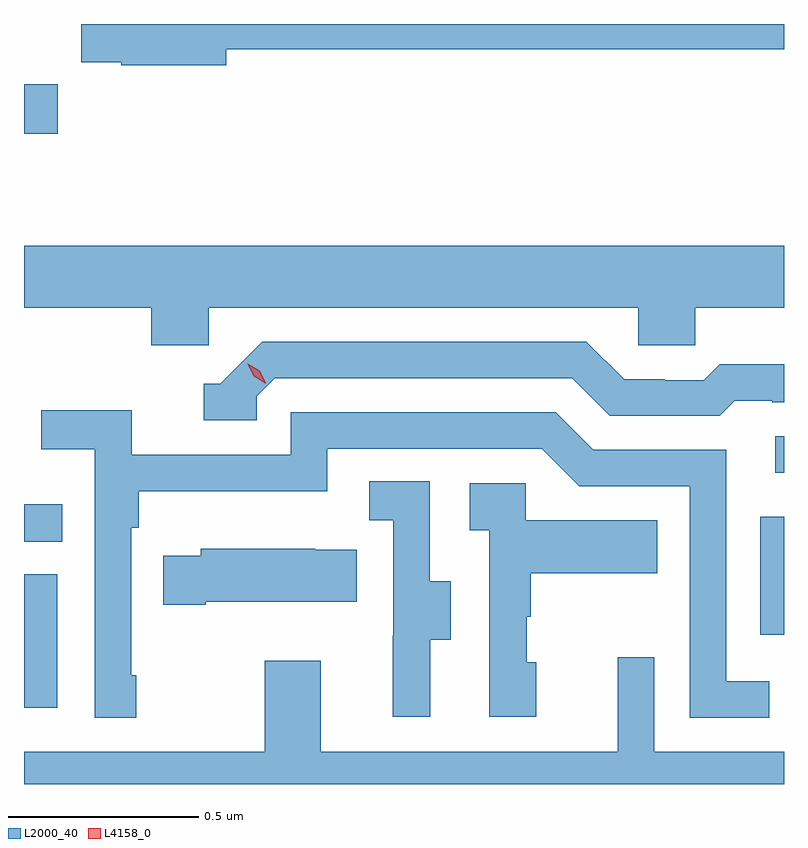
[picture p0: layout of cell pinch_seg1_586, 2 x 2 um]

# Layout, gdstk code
import gdstk
lib = gdstk.Library(unit=1e-6, precision=1e-09)
def R(c, l, rs):  # rectangles x0, y0, x1, y1
    for r in rs: c.add(gdstk.rectangle(r[:2], r[2:], *l))
def P(c, l, *ps):  # polygons
    for p in ps: c.add(gdstk.Polygon(p, *l))
L2000_40 = (2000, 40)
L4158_0 = (4158, 0)

pinch_seg1_586 = lib.new_cell('pinch_seg1_586')
R(pinch_seg1_586, L2000_40, [(1042.314,518.712,1042.402,519.063), (1044.252,518.904,1044.314,519.214), (1042.314,519.148,1042.415,519.247), (1044.291,519.33,1044.314,519.426), (1042.314,520.222,1042.403,520.352)])
P(pinch_seg1_586, L2000_40, [(1042.846,520.444),(1044.314,520.444),(1044.314,520.511),(1042.465,520.511),(1042.465,520.41),(1042.57,520.41),(1042.57,520.402),(1042.846,520.402)],
  [(1042.8,519.764),(1043.931,519.764),(1043.931,519.666),(1044.081,519.666),(1044.081,519.764),(1044.314,519.764),(1044.314,519.928),(1042.314,519.928),(1042.314,519.764),(1042.649,519.764),(1042.649,519.666),(1042.8,519.666)],
  [(1042.926,519.531),(1042.974,519.579),(1043.757,519.579),(1043.856,519.48),(1044.145,519.48),(1044.184,519.519),(1044.283,519.519),(1044.283,519.516),(1044.314,519.516),(1044.314,519.616),(1044.145,519.616),(1044.103,519.573),(1044,519.573),(1044,519.576),(1043.893,519.576),(1043.794,519.675),(1042.941,519.675),(1042.83,519.564),(1042.787,519.564),(1042.787,519.468),(1042.926,519.468)],
  [(1042.609,518.797),(1042.596,518.797),(1042.596,519.185),(1042.616,519.185),(1042.616,519.281),(1043.112,519.281),(1043.112,519.393),(1043.676,519.393),(1043.775,519.294),(1044.066,519.294),(1044.066,518.685),(1044.275,518.685),(1044.275,518.781),(1044.162,518.781),(1044.162,519.39),(1043.812,519.39),(1043.713,519.489),(1043.016,519.489),(1043.016,519.378),(1042.598,519.378),(1042.598,519.494),(1042.359,519.494),(1042.359,519.392),(1042.5,519.392),(1042.5,518.685),(1042.609,518.685)],
  [(1043.383,518.89),(1043.437,518.89),(1043.437,519.045),(1043.382,519.045),(1043.382,519.308),(1043.223,519.308),(1043.223,519.205),(1043.286,519.205),(1043.286,518.901),(1043.285,518.901),(1043.285,518.688),(1043.383,518.688)],
  [(1043.662,518.832),(1043.637,518.832),(1043.637,518.951),(1043.647,518.951),(1043.647,519.065),(1043.981,519.065),(1043.981,519.205),(1043.634,519.205),(1043.634,519.303),(1043.487,519.303),(1043.487,519.179),(1043.538,519.179),(1043.538,518.688),(1043.662,518.688)],
  [(1042.792,518.99),(1043.189,518.99),(1043.189,519.127),(1043.081,519.127),(1043.081,519.13),(1042.779,519.13),(1042.779,519.112),(1042.681,519.112),(1042.681,518.983),(1042.792,518.983)],
  [(1044.314,518.596),(1043.973,518.596),(1043.973,518.845),(1043.876,518.845),(1043.876,518.596),(1043.095,518.596),(1043.095,518.836),(1042.948,518.836),(1042.948,518.596),(1042.314,518.596),(1042.314,518.511),(1044.314,518.511)])
P(pinch_seg1_586, L4158_0, [(1042.949,519.565),(1042.919,519.584),(1042.903,519.617),(1042.903,519.617),(1042.903,519.617),(1042.934,519.598),(1042.95,519.565),(1042.95,519.565)])

lib.write_gds('pinch_seg1_586.gds')
